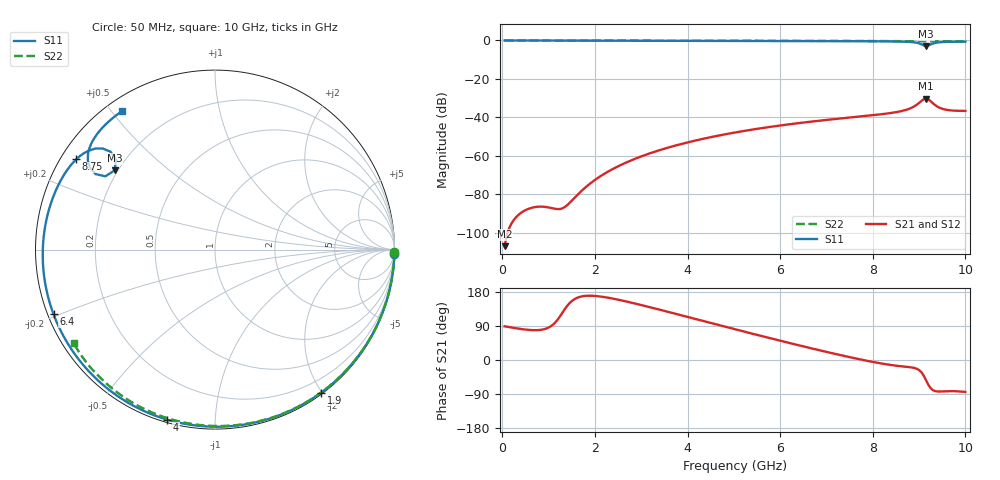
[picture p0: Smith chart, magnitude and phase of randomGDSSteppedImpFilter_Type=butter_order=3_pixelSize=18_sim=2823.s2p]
! freq	dB(S11)	phase(S11)	dB(S12)	phase(S12)
!  dB(S21)	phase(S21)	dB(S22)	phase(S22)
!S-par simulation data
#  GHz  S  DB  R 50
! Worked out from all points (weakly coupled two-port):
!   200 points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, 50 MHz to 10 GHz, reference 50 ohm
!   highest |S21| = -30.21 dB at 9.15 GHz (marker M1); lowest = -107.0 dB at 50 MHz (marker M2)
!   lowest |S11| = -2.9 dB at 9.15 GHz (marker M3), VSWR 5.96, Z = 9.36 + j16.8 ohm
!   |S11| at or under -10 dB: nowhere
!   |S22| runs from -0.5 to 0.0 dB; largest |S21 - S12| = 0
!   S11 on the Smith chart (normalised r, x): 50 MHz: 0, -79; 1.9 GHz: 0.02, -1.99; 4 GHz: 0.01, -0.76; 6.4 GHz: 0.02, -0.19; 8.75 GHz: 0.04, +0.30; 10 GHz: 0.05, +0.53
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0.05  -0.00 -1.5  -106.95 88.9  -106.95 88.9  -0.00 -0.9
0.8  -0.03 -22.9  -86.40 79.1  -86.40 79.1  -0.02 -13.5
1.6  -0.06 -45.2  -80.83 163.2  -80.83 163.2  -0.03 -26.9
1.75  -0.06 -49.3  -77.36 168.6  -77.36 168.6  -0.04 -29.3
1.9  -0.07 -53.4  -74.33 169.7  -74.33 169.7  -0.04 -31.8
2.2  -0.08 -61.3  -69.38 166.1  -69.38 166.1  -0.05 -36.7
2.55  -0.09 -70.4  -64.86 157.9  -64.86 157.9  -0.05 -42.3
3.4  -0.12 -91.5  -57.01 132.7  -57.01 132.7  -0.07 -55.7
4  -0.14 -105.6  -53.01 113.7  -53.01 113.7  -0.09 -64.9
5.05  -0.19 -129.2  -47.75 80.4  -47.75 80.4  -0.12 -80.4
6.4  -0.27 -158.2  -42.97 38.9  -42.97 38.9  -0.18 -99.4
6.7  -0.30 -164.6  -42.12 30.0  -42.12 30.0  -0.20 -103.4
7.55  -0.37 176.9  -39.95 6.2  -39.95 6.2  -0.26 -114.8
8.35  -0.49 158.1  -37.86 -12.5  -37.86 -12.5  -0.32 -125.2
8.75  -0.70 147.0  -35.85 -18.3  -35.85 -18.3  -0.36 -130.4
9  -1.50 138.0  -32.48 -26.5  -32.48 -26.5  -0.38 -133.6
9.1  -2.56 137.7  -30.59 -41.3  -30.59 -41.3  -0.39 -134.8
9.15  -2.94 141.7  -30.21 -53.3  -30.21 -53.3  -0.39 -135.5
9.25  -2.08 147.7  -31.57 -74.4  -31.57 -74.4  -0.40 -136.8
9.4  -1.05 143.0  -34.46 -83.1  -34.46 -83.1  -0.42 -138.8
9.6  -0.73 135.7  -36.10 -82.3  -36.10 -82.3  -0.44 -141.3
10  -0.64 123.8  -36.62 -84.3  -36.62 -84.3  -0.49 -146.5
